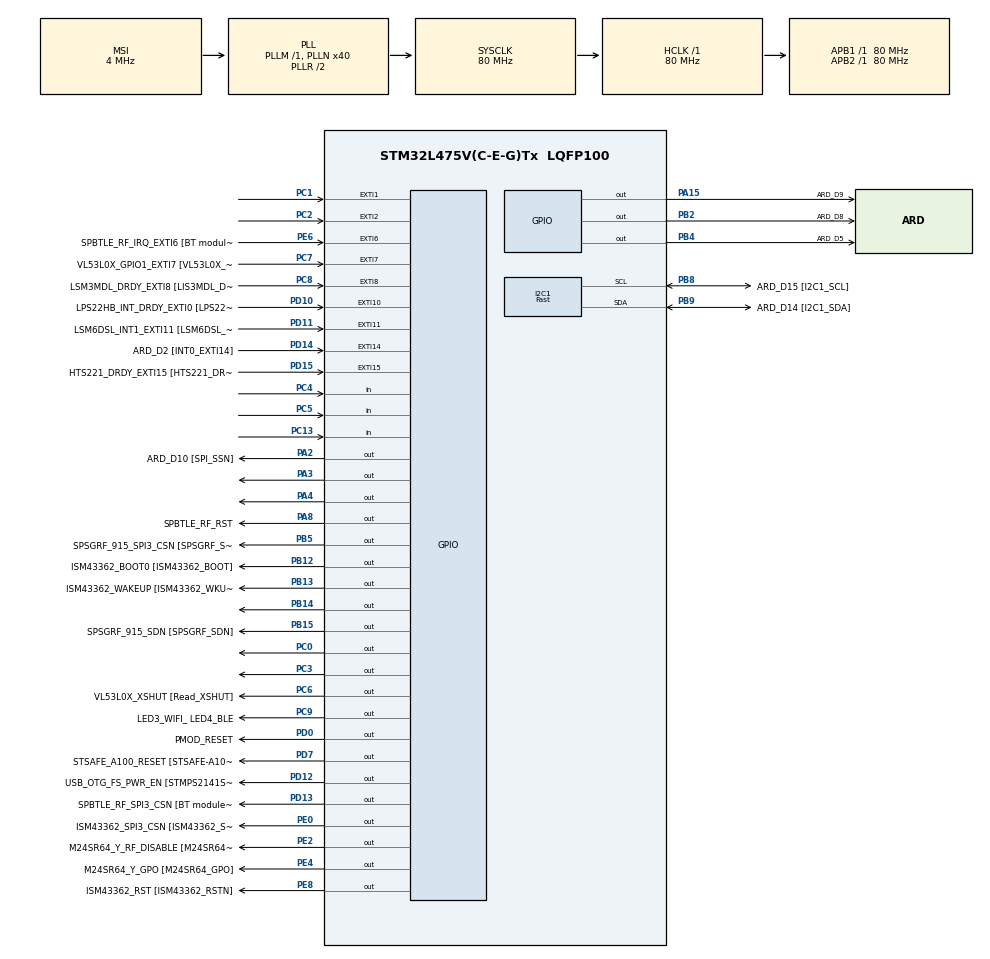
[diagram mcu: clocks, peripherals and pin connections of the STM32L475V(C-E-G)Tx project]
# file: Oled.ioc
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FREERTOS.Tasks01=defaultTask,24,128,StartDefaultTask,Default,NULL,Dynamic,NULL,NULL
I2C1.I2C_Speed_Mode=I2C_Fast
I2C1.Timing=0x00702991
Mcu.Family=STM32L4
Mcu.Name=STM32L475V(C-E-G)Tx
Mcu.Package=LQFP100
NVIC.EXTI1_IRQn=true\:5\:0\:false\:false\:true\:true\:true\:true\:true
NVIC.EXTI2_IRQn=true\:5\:0\:false\:false\:true\:true\:true\:true\:true
NVIC.EXTI9_5_IRQn=true\:5\:0\:false\:false\:true\:true\:true\:true\:true
NVIC.PriorityGroup=NVIC_PRIORITYGROUP_4
PA0.GPIO_Label=ARD_D1 [UART4_TX]
PA0.Signal=UART4_TX
PA1.GPIO_Label=ARD_D0 [UART4_RX]
PA1.Signal=UART4_RX
PA10.GPIO_Label=USB_OTG_FS_ID
PA10.Signal=USB_OTG_FS_ID
PA11.GPIO_Label=USB_OTG_FS_DM
PA11.Signal=USB_OTG_FS_DM
PA12.GPIO_Label=USB_OTG_FS_DP
PA12.Signal=USB_OTG_FS_DP
PA13\ (JTMS-SWDIO).GPIO_Label=SYS_JTMS_SWDIO
PA13\ (JTMS-SWDIO).Signal=SYS_JTMS-SWDIO
PA14\ (JTCK-SWCLK).GPIO_Label=SYS_JTCK_SWCLK
PA14\ (JTCK-SWCLK).Signal=SYS_JTCK-SWCLK
PA15\ (JTDI).GPIO_Label=ARD_D9
PA15\ (JTDI).Signal=GPIO_Output
PA2.GPIO_Label=ARD_D10 [SPI_SSN]
PA2.Signal=GPIO_Output
PA3.Signal=GPIO_Output
PA4.Signal=GPIO_Output
PA5.GPIO_Label=ARD_D13 [SPI1_SCK]
PA5.Signal=SPI1_SCK
PA6.GPIO_Label=ARD_D12 [SPI1_MISO]
PA6.Signal=SPI1_MISO
PA7.GPIO_Label=ARD_D11 [SPI1_MOSI]
PA7.Signal=SPI1_MOSI
PA8.GPIO_Label=SPBTLE_RF_RST
PA8.Signal=GPIO_Output
PA9.GPIO_Label=USB_OTG_FS_VBUS [STMPS2141STR_OUT]
PA9.Signal=USB_OTG_FS_VBUS
PB1.GPIO_Label=ARD_D6 [ADC1_IN6]
PB1.Signal=ADCx_IN16
PB10.GPIO_Label=INTERNAL_I2C2_SCL [VL53L0X_SCL]
PB10.Signal=I2C2_SCL
PB11.GPIO_Label=INTERNAL_I2C2_SDA [VL53L0X_SDA]
PB11.Signal=I2C2_SDA
PB12.GPIO_Label=ISM43362_BOOT0 [ISM43362_BOOT]
PB12.Signal=GPIO_Output
PB13.GPIO_Label=ISM43362_WAKEUP [ISM43362_WKUP]
PB13.Signal=GPIO_Output
PB14.Signal=GPIO_Output
PB15.GPIO_Label=SPSGRF_915_SDN [SPSGRF_SDN]
PB15.Signal=GPIO_Output
PB2.GPIO_Label=ARD_D8
PB2.Signal=GPIO_Output
PB3\ (JTDO-TRACESWO).GPIO_Label=SYS_JTD0_SWO
PB3\ (JTDO-TRACESWO).Signal=SYS_JTDO-SWO
PB4\ (NJTRST).GPIO_Label=ARD_D5
PB4\ (NJTRST).Signal=GPIO_Output
PB5.GPIO_Label=SPSGRF_915_SPI3_CSN [SPSGRF_SPI_CS]
PB5.PinState=GPIO_PIN_SET
PB5.Signal=GPIO_Output
PB8.GPIO_Label=ARD_D15 [I2C1_SCL]
PB8.Mode=I2C
PB8.Signal=I2C1_SCL
PB9.GPIO_Label=ARD_D14 [I2C1_SDA]
PB9.Mode=I2C
PB9.Signal=I2C1_SDA
PC0.Signal=GPIO_Output
PC1.Signal=GPXTI1
PC10.GPIO_Label=INTERNAL_SPI3_SCK [BT module_SPI_SCLK] [ISM43362_SCK]
PC10.Signal=SPI3_SCK
PC11.GPIO_Label=INTERNAL_SPI3_MISO [BT module_SPI_MISO] [ISM43362_MISO]
PC11.Signal=SPI3_MISO
PC12.GPIO_Label=INTERNAL_SPI3_MOSI [BT module_SPI_MOSI] [ISM43362_MOSI]
PC12.Signal=SPI3_MOSI
PC13.Signal=GPIO_Input
PC14-OSC32_IN\ (PC14).Signal=RCC_OSC32_IN
PC15-OSC32_OUT\ (PC15).Signal=RCC_OSC32_OUT
PC2.Signal=GPXTI2
PC3.Signal=GPIO_Output
PC4.Signal=GPIO_Input
PC5.Signal=GPIO_Input
PC6.GPIO_Label=VL53L0X_XSHUT [Read_XSHUT]
PC6.Signal=GPIO_Output
PC7.GPIO_Label=VL53L0X_GPIO1_EXTI7 [VL53L0X_GPIO1]
PC7.Signal=GPXTI7
PC8.GPIO_Label=LSM3MDL_DRDY_EXTI8 [LIS3MDL_DRDY]
PC8.Signal=GPXTI8
PC9.GPIO_Label=LED3_WIFI_ LED4_BLE
PC9.Signal=GPIO_Output
PD0.GPIO_Label=PMOD_RESET
PD0.Signal=GPIO_Output
PD1.GPIO_Label=PMOD_SPI2_SCK
PD1.Signal=SPI2_SCK
PD10.GPIO_Label=LPS22HB_INT_DRDY_EXTI0 [LPS22HB_INT_DRDY] 
PD10.Signal=GPXTI10
PD11.GPIO_Label=LSM6DSL_INT1_EXTI11 [LSM6DSL_INT1]
PD11.Signal=GPXTI11
PD12.GPIO_Label=USB_OTG_FS_PWR_EN [STMPS2141STR_EN]
PD12.Signal=GPIO_Output
PD13.GPIO_Label=SPBTLE_RF_SPI3_CSN [BT module_SPI_CS]
PD13.PinState=GPIO_PIN_SET
PD13.Signal=GPIO_Output
PD14.GPIO_Label=ARD_D2 [INT0_EXTI14]
PD14.Signal=GPXTI14
PD15.GPIO_Label=HTS221_DRDY_EXTI15 [HTS221_DRDY]
PD15.Signal=GPXTI15
PD3.GPIO_Label=PMOD_UART2_CTS
PD3.Signal=USART2_CTS
PD4.GPIO_Label=PMOD_UART2_RTS
PD4.Signal=USART2_RTS
PD5.GPIO_Label=PMOD_UART2_TX
PD5.Signal=USART2_TX
PD6.GPIO_Label=PMOD_UART2_RX
PD6.Signal=USART2_RX
PD7.GPIO_Label=STSAFE_A100_RESET [STSAFE-A100_RESET]
PD7.Signal=GPIO_Output
PD8.GPIO_Label=INTERNAL_UART3_TX [ISM43362_RX]
PD8.Signal=USART3_TX
PD9.GPIO_Label=INTERNAL_UART3_RX [ISM43362_TX]
PD9.Signal=USART3_RX
PE0.GPIO_Label=ISM43362_SPI3_CSN [ISM43362_SSN]
PE0.PinState=GPIO_PIN_SET
PE0.Signal=GPIO_Output
PE10.GPIO_Label=QUADSPI_CLK [MX25R6435F_SCLK]
PE10.Signal=QUADSPI_CLK
PE11.GPIO_Label=QUADSPI_NCS [MX25R6435F_SCLK]
PE11.Signal=QUADSPI_NCS
PE12.GPIO_Label=OQUADSPI_BK1_IO0 [MX25R6435F_IO0]
PE12.Signal=QUADSPI_BK1_IO0
PE13.GPIO_Label=QUADSPI_BK1_IO1 [MX25R6435F_IO1]
PE13.Signal=QUADSPI_BK1_IO1
PE14.GPIO_Label=QUAD_SPI_BK1_IO2 [MX25R6435F_IO2]
PE14.Signal=QUADSPI_BK1_IO2
PE15.GPIO_Label=QUAD_SPI_BK1_IO3 [MX25R6435F_IO3]
PE15.Signal=QUADSPI_BK1_IO3
PE2.GPIO_Label=M24SR64_Y_RF_DISABLE [M24SR64_RFDIS]
PE2.Signal=GPIO_Output
PE4.GPIO_Label=M24SR64_Y_GPO [M24SR64_GPO]
PE4.Signal=GPIO_Output
PE6.GPIO_Label=SPBTLE_RF_IRQ_EXTI6 [BT module_SPI_IRQ]
PE6.Signal=GPXTI6
PE7.GPIO_Label=DFSDM1_DATIN2 [MP34DT01_DOUT]
PE7.Signal=S_DATAIN2DFSDM1
PE8.GPIO_Label=ISM43362_RST [ISM43362_RSTN]
PE8.Signal=GPIO_Output
PE9.GPIO_Label=DFSDM1_CKOUT [MP34DT01_CLK]
PE9.Signal=S_CKOUTDFSDM1
ProjectManager.HeapSize=0x200
ProjectManager.StackSize=0x400
ProjectManager.TargetToolchain=STM32CubeIDE
RCC.ADCFreq_Value=48000000
RCC.AHBFreq_Value=80000000
RCC.APB1Freq_Value=80000000
RCC.APB1TimFreq_Value=80000000
RCC.APB2Freq_Value=80000000
RCC.APB2TimFreq_Value=80000000
RCC.CortexFreq_Value=80000000
RCC.HCLKFreq_Value=80000000
RCC.HSE_VALUE=8000000
RCC.HSI_VALUE=16000000
RCC.LSE_VALUE=32768
RCC.MSI_VALUE=4000000
RCC.PLLN=40
RCC.PLLSAI1N=24
RCC.SYSCLKFreq_VALUE=80000000
RCC.SYSCLKSource=RCC_SYSCLKSOURCE_PLLCLK
RCC.USBFreq_Value=48000000
RCC.VCOOutputFreq_Value=160000000
SH.ADCx_IN16.0=ADC1_IN16
SH.S_CKOUTDFSDM1.0=DFSDM1_CKOUT
SH.S_DATAIN2DFSDM1.0=DFSDM1_DATIN2
VP_FREERTOS_VS_CMSIS_V2.Mode=CMSIS_V2
board=B-L475E-IOT01A1

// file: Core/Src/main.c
/* USER CODE BEGIN Header */
/**
  ******************************************************************************
  * @file           : main.c
  * @brief          : Main program body
  ******************************************************************************
  * @attention
  *
  * Copyright (c) 2024 STMicroelectronics.
  * All rights reserved.
  *
  * This software is licensed under terms that can be found in the LICENSE file
  * in the root directory of this software component.
  * If no LICENSE file comes with this software, it is provided AS-IS.
  *
  ******************************************************************************
  */
/* USER CODE END Header */
#include "main.h"
#include "cmsis_os.h"

/* USER CODE BEGIN Includes */
#include "ssd1306.h"
#include "ssd1306_tests.h"
#include "ssd1306_fonts.h"
#include <stdbool.h>
#include <stdio.h>
#include <string.h>
/* USER CODE END Includes */

/* USER CODE BEGIN PD */
#define LEFT_BUTTON_PIN GPIO_PIN_13
#define RIGHT_BUTTON_PIN GPIO_PIN_4
#define BUTTON_GPIO_PORT GPIOC
#define WAKEUP_BUTTON_PIN GPIO_PIN_5
#define WAKEUP_GPIO_PORT GPIOC
#define LED_PIN GPIO_PIN_14
#define LED_GPIO_PORT GPIOB
#define BUZZER_PIN GPIO_PIN_3
#define BUZZER_GPIO_PORT GPIOC

#define BALL_SIZE 4
#define PADDLE_WIDTH 40
#define PADDLE_HEIGHT 4

/* USER CODE END PD */

I2C_HandleTypeDef hi2c1;
/* Definitions for GameTask */
osThreadId_t GameTaskHandle;
const osThreadAttr_t GameTask_attributes = {
  .name = "GameTask",
  .stack_size = 128 * 4,
  .priority = (osPriority_t) osPriorityAboveNormal,
};

/* Definitions for PaddleTask */
osThreadId_t PaddleTaskHandle;
const osThreadAttr_t PaddleTask_attributes = {
  .name = "PaddleTask",
  .stack_size = 128 * 4,
  .priority = (osPriority_t) osPriorityNormal,
};

/* Definitions for DisplayTask */
osThreadId_t DisplayTaskHandle;
const osThreadAttr_t DisplayTask_attributes = {
  .name = "DisplayTask",
  .stack_size = 128 * 4,
  .priority = (osPriority_t) osPriorityBelowNormal,
};

/* Definitions for GameOverTask */
osThreadId_t GameOverTaskHandle;
const osThreadAttr_t GameOverTask_attributes = {
  .name = "GameOverTask",
  .stack_size = 128 * 4,
  .priority = (osPriority_t) osPriorityBelowNormal,
};

osSemaphoreId_t gameOverSemaphore;

/* USER CODE BEGIN PV */
bool game_over = true;  // Start in game over state
bool first_play = true; // Flag to track the first play
char score_str[20];
char highscore_str[25];
const uint8_t score_display_height = 16;
const uint8_t game_area_top = score_display_height + 2;

uint8_t ball_x = SSD1306_WIDTH / 2;
uint8_t ball_y = (SSD1306_HEIGHT - game_area_top) / 2 + game_area_top;
int8_t ball_vx = 1;
int8_t ball_vy = 1;

uint8_t paddle_x = (SSD1306_WIDTH - PADDLE_WIDTH) / 2;
const uint8_t paddle_y = SSD1306_HEIGHT - PADDLE_HEIGHT - 2;

int score = 0;
static int highscore = 0;
bool wasLeftButtonPressed = false;
bool wasRightButtonPressed = false;
/* USER CODE END PV */

void SystemClock_Config(void);
static void MX_GPIO_Init(void);
static void MX_I2C1_Init(void);
void StartGameTask(void *argument);
void StartPaddleTask(void *argument);
void StartDisplayTask(void *argument);
void StartGameOverTask(void *argument);
void LpmTask(void *argument);

/* USER CODE BEGIN PFP */
GPIO_PinState readPC13State();
GPIO_PinState readPC4State();
GPIO_PinState readPC5State();  // New function prototype
bool movePaddleLeft(uint8_t *paddle_x);
bool movePaddleRight(uint8_t *paddle_x, uint8_t paddle_width);
/* USER CODE END PFP */

/* USER CODE BEGIN 0 */

GPIO_PinState readPC13State() {
    return HAL_GPIO_ReadPin(GPIOC, LEFT_BUTTON_PIN);
}

GPIO_PinState readPC4State() {
    return HAL_GPIO_ReadPin(GPIOC, RIGHT_BUTTON_PIN);
}

GPIO_PinState readPC5State() {  // New function implementation
    return HAL_GPIO_ReadPin(GPIOC, WAKEUP_BUTTON_PIN);
}

bool movePaddleLeft(uint8_t *paddle_x) {
    GPIO_PinState leftButtonState = readPC13State();
    if (leftButtonState == GPIO_PIN_SET && !wasLeftButtonPressed) {
        wasLeftButtonPressed = true;
        if (*paddle_x > 0) {
            *paddle_x -= 2;
        }
        return true;
    }
    if (leftButtonState == GPIO_PIN_RESET) {
        wasLeftButtonPressed = false;
    }
    return false;
}

bool movePaddleRight(uint8_t *paddle_x, uint8_t paddle_width) {
    GPIO_PinState rightButtonState = readPC4State();
    if (rightButtonState == GPIO_PIN_SET && !wasRightButtonPressed) {
        wasRightButtonPressed = true;
        if (*paddle_x + paddle_width < SSD1306_WIDTH) {
            *paddle_x += 2;
        }
        return true;
    }
    if (rightButtonState == GPIO_PIN_RESET) {
        wasRightButtonPressed = false;
    }
    return false;
}

void StartGameTask(void *argument) {
    while (1) {
        if (!game_over) {
            ball_x += ball_vx;
            ball_y += ball_vy;

            if (ball_y <= game_area_top) {
                ball_vy = -ball_vy;
            }

            if (ball_x <= 0 || ball_x >= SSD1306_WIDTH - BALL_SIZE) {
                ball_vx = -ball_vx;
            }

            if (ball_y + BALL_SIZE >= paddle_y && ball_x + BALL_SIZE >= paddle_x && ball_x <= paddle_x + PADDLE_WIDTH) {
                ball_vy = -ball_vy;
                score++;
            }

            if (ball_y >= SSD1306_HEIGHT - BALL_SIZE - PADDLE_HEIGHT) {
                game_over = true;
                osSemaphoreRelease(gameOverSemaphore);
            }

            osDelay(60);
        } else {
            osDelay(200);
        }
    }
}

void StartPaddleTask(void *argument) {
    while (1) {
        if (!game_over) {
            if (movePaddleLeft(&paddle_x)) {}
            if (movePaddleRight(&paddle_x, PADDLE_WIDTH)) {}
        }
        osDelay(50);
    }
}

void StartDisplayTask(void *argument) {
    while (1) {
        if (!game_over) {
            ssd1306_Fill(Black);

            ssd1306_FillRectangle(ball_x, ball_y, ball_x + BALL_SIZE, ball_y + BALL_SIZE, White);
            ssd1306_FillRectangle(paddle_x, paddle_y, paddle_x + PADDLE_WIDTH, paddle_y + PADDLE_HEIGHT, White);

            if (score > highscore) {
                        highscore = score;
                    }
            sprintf(score_str, "Score: %d", score);
            ssd1306_SetCursor(0, 0);
            ssd1306_WriteString(score_str, Font_6x8, White);

            sprintf(highscore_str, "Highscore: %d", highscore);
            ssd1306_SetCursor(0, 8);
            ssd1306_WriteString(highscore_str, Font_6x8, White);

            ssd1306_UpdateScreen();
        }

        osDelay(100);
    }
}

void StartGameOverTask(void *argument) {
    while (1) {
        osSemaphoreAcquire(gameOverSemaphore, osWaitForever);
        if (!first_play && game_over) {
                    // Display "Game Over" screen only after the first play
        	ssd1306_Fill(Black); // Set OLED display to black
        	ssd1306_UpdateScreen();
            ssd1306_SetCursor(10, SSD1306_HEIGHT / 2 - 20);
            ssd1306_WriteString("Game Over", Font_11x18, White);
            ssd1306_SetCursor(10, SSD1306_HEIGHT / 2);
            ssd1306_WriteString(score_str, Font_6x8, White);
            ssd1306_SetCursor(10, SSD1306_HEIGHT / 2 + 20);
            ssd1306_WriteString(highscore_str, Font_6x8, White);
            ssd1306_UpdateScreen();
            HAL_GPIO_WritePin(BUZZER_GPIO_PORT, BUZZER_PIN, GPIO_PIN_SET);
            HAL_Delay(2000);
                     // Buzzer Off
            HAL_GPIO_WritePin(BUZZER_GPIO_PORT, BUZZER_PIN, GPIO_PIN_RESET);
            HAL_Delay(2000);
        }
        if (game_over) {
         ssd1306_Fill(Black); // Set OLED display to black
         HAL_Delay(2000);
         HAL_SuspendTick();
         HAL_PWREx_EnableLowPowerRunMode();
         HAL_ResumeTick();
         HAL_PWREx_DisableLowPowerRunMode();
         }
        ssd1306_Fill(Black);
        ssd1306_UpdateScreen();

        while (readPC5State() == GPIO_PIN_RESET) {
            osDelay(50);  // Wait for PC5 button press to restart the game
        }
        if (game_over && HAL_GPIO_ReadPin(WAKEUP_GPIO_PORT, WAKEUP_BUTTON_PIN) == GPIO_PIN_SET){
        ball_x = SSD1306_WIDTH / 2;
        ball_y = (SSD1306_HEIGHT - game_area_top) / 2 + game_area_top;
        ball_vx = 1;
        ball_vy = 1;
        paddle_x = (SSD1306_WIDTH - PADDLE_WIDTH) / 2;
        score = 0;
        game_over = false;
        first_play = false;  // Set first_play to false after the first game
        ssd1306_Fill(Black);
        ssd1306_UpdateScreen();
        }
    }
}

void HAL_GPIO_EXTI_Callback(uint16_t GPIO_Pin) {
    if (GPIO_Pin == WAKEUP_BUTTON_PIN) {
        if (game_over) {
            game_over = false;
            osSemaphoreRelease(gameOverSemaphore);
        }
    }
}

/* USER CODE END 0 */

int main(void) {
    HAL_Init();
    SystemClock_Config();
    MX_GPIO_Init();
    MX_I2C1_Init();

    ssd1306_Init();

    osKernelInitialize();
    GameTaskHandle = osThreadNew(StartGameTask, NULL, &GameTask_attributes);
    PaddleTaskHandle = osThreadNew(StartPaddleTask, NULL, &PaddleTask_attributes);
    DisplayTaskHandle = osThreadNew(StartDisplayTask, NULL, &DisplayTask_attributes);
    GameOverTaskHandle = osThreadNew(StartGameOverTask, NULL, &GameOverTask_attributes);
    gameOverSemaphore = osSemaphoreNew(1, 1, NULL);

    osKernelStart();

    while (1) {
        // Should never reach here
    }
}

void SystemClock_Config(void) {
    RCC_OscInitTypeDef RCC_OscInitStruct = {0};
    RCC_ClkInitTypeDef RCC_ClkInitStruct = {0};

    if (HAL_PWREx_ControlVoltageScaling(PWR_REGULATOR_VOLTAGE_SCALE1) != HAL_OK) {
        Error_Handler();
    }

    RCC_OscInitStruct.OscillatorType = RCC_OSCILLATORTYPE_MSI;
    RCC_OscInitStruct.MSIState = RCC_MSI_ON;
    RCC_OscInitStruct.MSICalibrationValue = 0;
    RCC_OscInitStruct.MSIClockRange = RCC_MSIRANGE_6;
    RCC_OscInitStruct.PLL.PLLState = RCC_PLL_ON;
    RCC_OscInitStruct.PLL.PLLSource = RCC_PLLSOURCE_MSI;
    RCC_OscInitStruct.PLL.PLLM = 1;
    RCC_OscInitStruct.PLL.PLLN = 40;
    RCC_OscInitStruct.PLL.PLLP = RCC_PLLP_DIV7;
    RCC_OscInitStruct.PLL.PLLQ = RCC_PLLQ_DIV2;
    RCC_OscInitStruct.PLL.PLLR = RCC_PLLR_DIV2;
    if (HAL_RCC_OscConfig(&RCC_OscInitStruct) != HAL_OK) {
        Error_Handler();
    }

    RCC_ClkInitStruct.ClockType = RCC_CLOCKTYPE_HCLK | RCC_CLOCKTYPE_SYSCLK
                              | RCC_CLOCKTYPE_PCLK1 | RCC_CLOCKTYPE_PCLK2;
    RCC_ClkInitStruct.SYSCLKSource = RCC_SYSCLKSOURCE_PLLCLK;
    RCC_ClkInitStruct.AHBCLKDivider = RCC_SYSCLK_DIV1;
    RCC_ClkInitStruct.APB1CLKDivider = RCC_HCLK_DIV1;  // Use the correct macro here
    RCC_ClkInitStruct.APB2CLKDivider = RCC_HCLK_DIV1;  // Use the correct macro here

    if (HAL_RCC_ClockConfig(&RCC_ClkInitStruct, FLASH_LATENCY_4) != HAL_OK) {
        Error_Handler();
    }
}

static void MX_I2C1_Init(void) {
    hi2c1.Instance = I2C1;
    hi2c1.Init.Timing = 0x00702991;
    hi2c1.Init.OwnAddress1 = 0;
    hi2c1.Init.AddressingMode = I2C_ADDRESSINGMODE_7BIT;
    hi2c1.Init.DualAddressMode = I2C_DUALADDRESS_DISABLE;
    hi2c1.Init.OwnAddress2 = 0;
    hi2c1.Init.OwnAddress2Masks = I2C_OA2_NOMASK;
    hi2c1.Init.GeneralCallMode = I2C_GENERALCALL_DISABLE;
    hi2c1.Init.NoStretchMode = I2C_NOSTRETCH_DISABLE;
    if (HAL_I2C_Init(&hi2c1) != HAL_OK) {
        Error_Handler();
    }
    if (HAL_I2CEx_ConfigAnalogFilter(&hi2c1, I2C_ANALOGFILTER_ENABLE) != HAL_OK) {
        Error_Handler();
    }
    if (HAL_I2CEx_ConfigDigitalFilter(&hi2c1, 0) != HAL_OK) {
        Error_Handler();
    }
}

static void MX_GPIO_Init(void) {
    GPIO_InitTypeDef GPIO_InitStruct = {0};

    __HAL_RCC_GPIOC_CLK_ENABLE();
    __HAL_RCC_GPIOF_CLK_ENABLE();
    __HAL_RCC_GPIOA_CLK_ENABLE();
    __HAL_RCC_GPIOB_CLK_ENABLE();

    HAL_GPIO_WritePin(LED_GPIO_PORT, LED_PIN, GPIO_PIN_RESET);

    GPIO_InitStruct.Pin = LEFT_BUTTON_PIN | RIGHT_BUTTON_PIN | WAKEUP_BUTTON_PIN;  // Add WAKEUP_BUTTON_PIN
    GPIO_InitStruct.Mode = GPIO_MODE_INPUT;
    GPIO_InitStruct.Pull = GPIO_PULLUP;
    HAL_GPIO_Init(BUTTON_GPIO_PORT, &GPIO_InitStruct);

    GPIO_InitStruct.Pin = LED_PIN;
    GPIO_InitStruct.Mode = GPIO_MODE_OUTPUT_PP;
    GPIO_InitStruct.Pull = GPIO_NOPULL;
    GPIO_InitStruct.Speed = GPIO_SPEED_FREQ_LOW;
    HAL_GPIO_Init(LED_GPIO_PORT, &GPIO_InitStruct);

    GPIO_InitStruct.Pin = BUZZER_PIN;
    GPIO_InitStruct.Mode = GPIO_MODE_OUTPUT_PP;
    GPIO_InitStruct.Pull = GPIO_NOPULL;
    GPIO_InitStruct.Speed = GPIO_SPEED_FREQ_LOW;
    HAL_GPIO_Init(BUZZER_GPIO_PORT, &GPIO_InitStruct);

    // Set the buzzer pin low initially

}

void Error_Handler(void) {
    __disable_irq();
    while (1) {
    }
}
